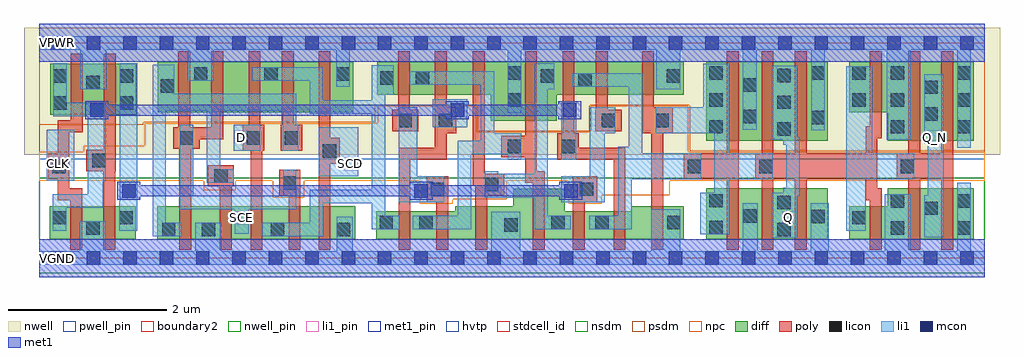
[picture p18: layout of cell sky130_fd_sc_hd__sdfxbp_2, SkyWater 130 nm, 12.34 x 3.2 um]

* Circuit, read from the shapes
.subckt sky130_fd_sc_hd__sdfxbp_2 CLK D Q Q_N SCD SCE VGND VNB VPB VPWR
XM1 VGND CLK n1 VNB sky130_fd_pr__nfet_01v8 w=0.42 l=0.15
XM2 n2 n1 VGND VNB sky130_fd_pr__nfet_01v8 w=0.42 l=0.15
XM3 VGND SCE n3 VNB sky130_fd_pr__nfet_01v8 w=0.42 l=0.15
XM4 n4 n3 VGND VNB sky130_fd_pr__nfet_01v8 w=0.42 l=0.15
XM5 n5 D n4 VNB sky130_fd_pr__nfet_01v8 w=0.42 l=0.15
XM6 n6 SCE n5 VNB sky130_fd_pr__nfet_01v8 w=0.42 l=0.15
XM7 VGND SCD n6 VNB sky130_fd_pr__nfet_01v8 w=0.42 l=0.15
XM8 n7 n1 n5 VNB sky130_fd_pr__nfet_01v8 w=0.36 l=0.15
XM9 n8 n2 n7 VNB sky130_fd_pr__nfet_01v8 w=0.36 l=0.15
XM10 VGND n9 n8 VNB sky130_fd_pr__nfet_01v8 w=0.42 l=0.15
XM11 n9 n7 VGND VNB sky130_fd_pr__nfet_01v8 w=0.64 l=0.15
XM12 n10 n2 n9 VNB sky130_fd_pr__nfet_01v8 w=0.36 l=0.15
XM13 n11 n1 n10 VNB sky130_fd_pr__nfet_01v8 w=0.36 l=0.15
XM14 VGND n12 n11 VNB sky130_fd_pr__nfet_01v8 w=0.42 l=0.15
XM15 VGND n10 n12 VNB sky130_fd_pr__nfet_01v8 w=0.65 l=0.15
XM16 Q n12 VGND VNB sky130_fd_pr__nfet_01v8 w=0.65 l=0.15 m=2
XM17 VGND n12 n13 VNB sky130_fd_pr__nfet_01v8 w=0.42 l=0.15
XM18 Q_N n13 VGND VNB sky130_fd_pr__nfet_01v8 w=0.65 l=0.15 m=2
XM19 VPWR CLK n1 VPB sky130_fd_pr__pfet_01v8_hvt w=0.64 l=0.15
XM20 n2 n1 VPWR VPB sky130_fd_pr__pfet_01v8_hvt w=0.64 l=0.15
XM21 VPWR SCE n3 VPB sky130_fd_pr__pfet_01v8_hvt w=0.64 l=0.15
XM22 n14 SCE VPWR VPB sky130_fd_pr__pfet_01v8_hvt w=0.64 l=0.15
XM23 n5 D n14 VPB sky130_fd_pr__pfet_01v8_hvt w=0.64 l=0.15
XM24 n15 n3 n5 VPB sky130_fd_pr__pfet_01v8_hvt w=0.64 l=0.15
XM25 VPWR SCD n15 VPB sky130_fd_pr__pfet_01v8_hvt w=0.64 l=0.15
XM26 n7 n2 n5 VPB sky130_fd_pr__pfet_01v8_hvt w=0.42 l=0.15
XM27 n16 n1 n7 VPB sky130_fd_pr__pfet_01v8_hvt w=0.42 l=0.15
XM28 VPWR n9 n16 VPB sky130_fd_pr__pfet_01v8_hvt w=0.42 l=0.15
XM29 n9 n7 VPWR VPB sky130_fd_pr__pfet_01v8_hvt w=0.75 l=0.15
XM30 n10 n1 n9 VPB sky130_fd_pr__pfet_01v8_hvt w=0.42 l=0.15
XM31 n17 n2 n10 VPB sky130_fd_pr__pfet_01v8_hvt w=0.42 l=0.15
XM32 VPWR n12 n17 VPB sky130_fd_pr__pfet_01v8_hvt w=0.42 l=0.15
XM33 VPWR n10 n12 VPB sky130_fd_pr__pfet_01v8_hvt w=1 l=0.15
XM34 Q n12 VPWR VPB sky130_fd_pr__pfet_01v8_hvt w=1 l=0.15 m=2
XM35 VPWR n12 n13 VPB sky130_fd_pr__pfet_01v8_hvt w=0.64 l=0.15
XM36 Q_N n13 VPWR VPB sky130_fd_pr__pfet_01v8_hvt w=1 l=0.15 m=2
.ends

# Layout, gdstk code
import gdstk
lib = gdstk.Library(unit=1e-6, precision=1e-09)
def R(c, l, rs):  # rectangles x0, y0, x1, y1
    for r in rs: c.add(gdstk.rectangle(r[:2], r[2:], *l))
def A(c, l, x, y, w, h, nx, ny, dx, dy):  # array of equal rectangles
    R(c, l, [(x+i*dx, y+j*dy, x+i*dx+w, y+j*dy+h) for i in range(nx) for j in range(ny)])
def P(c, l, *ps):  # polygons
    for p in ps: c.add(gdstk.Polygon(p, *l))
nwell_pin = (64, 16)
nwell = (64, 20)
diff = (65, 20)
poly = (66, 20)
licon = (66, 44)
li1_pin = (67, 16)
li1 = (67, 20)
mcon = (67, 44)
met1_pin = (68, 16)
met1 = (68, 20)
hvtp = (78, 44)
stdcell_id = (81, 4)
nsdm = (93, 44)
psdm = (94, 20)
npc = (95, 20)
pwell_pin = (122, 16)
boundary2 = (236, 0)

sky130_fd_sc_hd__sdfxbp_ = lib.new_cell('sky130_fd_sc_hd__sdfxbp_2')
R(sky130_fd_sc_hd__sdfxbp_, nwell_pin, [(0.145,2.635,0.315,2.805), (0.145,2.635,0.315,2.805)])
R(sky130_fd_sc_hd__sdfxbp_, nwell, [(-0.19,1.305,12.15,2.91)])
R(sky130_fd_sc_hd__sdfxbp_, diff, [(0.135,0.235,1.225,0.655), (1.495,0.235,3.995,0.655), (8.435,0.235,9.975,0.885), (8.435,1.485,9.975,2.485), (0.14,1.815,1.23,2.455), (1.5,1.845,3.97,2.485)])
P(sky130_fd_sc_hd__sdfxbp_, diff, [(11.82,0.885),(10.73,0.885),(10.73,0.655),(10.245,0.655),(10.245,0.235),(11.82,0.235)],
  [(8.15,2.485),(4.275,2.485),(4.275,2.065),(5.71,2.065),(5.71,1.735),(6.545,1.735),(6.545,2.065),(8.15,2.065)],
  [(8.15,0.655),(7.49,0.655),(7.49,0.595),(6.645,0.595),(6.645,0.875),(5.995,0.875),(5.995,0.655),(5.265,0.655),(5.265,0.595),(4.265,0.595),(4.265,0.235),(8.15,0.235)],
  [(11.82,2.485),(10.245,2.485),(10.245,1.845),(10.73,1.845),(10.73,1.485),(11.82,1.485)])
P(sky130_fd_sc_hd__sdfxbp_, poly, [(11.56,2.615),(11.41,2.615),(11.41,1.325),(11.14,1.325),(11.14,2.615),(10.99,2.615),(10.99,1.325),(10.845,1.325),(10.845,0.995),(10.99,0.995),(10.99,0.105),(11.14,0.105),(11.14,0.995),(11.41,0.995),(11.41,0.105),(11.56,0.105)],
  [(0.55,2.585),(0.4,2.585),(0.4,1.74),(0.235,1.74),(0.235,1.325),(0.115,1.325),(0.115,0.995),(0.235,0.995),(0.235,0.73),(0.395,0.73),(0.395,0.105),(0.545,0.105),(0.545,0.88),(0.385,0.88),(0.385,1.59),(0.55,1.59)],
  [(0.97,2.585),(0.82,2.585),(0.82,1.37),(0.595,1.37),(0.595,1.1),(0.815,1.1),(0.815,0.105),(0.965,0.105),(0.965,1.1),(0.97,1.1)],
  [(2.33,2.615),(2.18,2.615),(2.18,1.655),(1.91,1.655),(1.91,2.615),(1.76,2.615),(1.76,1.655),(1.7,1.655),(1.7,1.385),(1.775,1.385),(1.775,0.105),(1.925,0.105),(1.925,1.385),(2.03,1.385),(2.03,1.505),(2.33,1.505)],
  [(2.465,1.175),(2.135,1.175),(2.135,0.905),(2.285,0.905),(2.285,0.105),(2.435,0.105),(2.435,0.905),(2.465,0.905)],
  [(2.845,1.685),(2.8,1.685),(2.8,2.615),(2.65,2.615),(2.65,1.685),(2.575,1.685),(2.575,1.355),(2.675,1.355),(2.675,0.105),(2.825,0.105),(2.825,1.355),(2.845,1.355)],
  [(3.305,1.115),(3.035,1.115),(3.035,0.785),(3.155,0.785),(3.155,0.105),(3.305,0.105)],
  [(3.325,1.685),(3.22,1.685),(3.22,2.615),(3.07,2.615),(3.07,1.685),(3.055,1.685),(3.055,1.355),(3.325,1.355)],
  [(3.805,1.52),(3.685,1.52),(3.685,2.615),(3.535,2.615),(3.535,0.105),(3.685,0.105),(3.685,1.19),(3.805,1.19)],
  [(4.795,1.875),(4.69,1.875),(4.69,2.615),(4.54,2.615),(4.54,1.875),(4.465,1.875),(4.465,1.605),(4.795,1.605)],
  [(5.175,1.035),(4.905,1.035),(4.905,0.705),(5.025,0.705),(5.025,0.105),(5.175,0.105)],
  [(5.275,1.905),(5.155,1.905),(5.155,2.615),(5.005,2.615),(5.005,1.395),(4.545,1.395),(4.545,0.105),(4.695,0.105),(4.695,1.245),(5.155,1.245),(5.155,1.575),(5.275,1.575)],
  [(5.885,1.065),(5.635,1.065),(5.635,2.615),(5.485,2.615),(5.485,0.915),(5.515,0.915),(5.515,0.105),(5.665,0.105),(5.665,0.795),(5.885,0.795)],
  [(6.395,1.1),(6.295,1.1),(6.295,2.615),(6.145,2.615),(6.145,1.545),(5.845,1.545),(5.845,1.275),(6.145,1.275),(6.145,0.95),(6.245,0.95),(6.245,0.105),(6.395,0.105)],
  [(7.055,1.035),(6.75,1.035),(6.75,0.105),(6.9,0.105),(6.9,0.705),(7.055,0.705)],
  [(7.365,1.875),(7.19,1.875),(7.19,2.615),(7.04,2.615),(7.04,1.875),(7.035,1.875),(7.035,1.605),(7.365,1.605)],
  [(7.415,1.395),(6.825,1.395),(6.825,1.575),(6.77,1.575),(6.77,2.615),(6.62,2.615),(6.62,1.575),(6.555,1.575),(6.555,1.245),(7.265,1.245),(7.265,0.105),(7.415,0.105)],
  [(8.015,1.905),(7.775,1.905),(7.775,2.615),(7.625,2.615),(7.625,1.575),(7.74,1.575),(7.74,0.105),(7.89,0.105),(7.89,1.575),(8.015,1.575)],
  [(8.845,2.615),(8.695,2.615),(8.695,1.325),(8.15,1.325),(8.15,0.995),(8.695,0.995),(8.695,0.105),(8.845,0.105)],
  [(10.655,0.88),(10.6,0.88),(10.6,1.515),(10.655,1.515),(10.655,2.615),(10.505,2.615),(10.505,1.665),(10.45,1.665),(10.45,1.325),(9.705,1.325),(9.705,2.615),(9.555,2.615),(9.555,1.325),(9.285,1.325),(9.285,2.615),(9.135,2.615),(9.135,1.325),(9.055,1.325),(9.055,0.995),(9.135,0.995),(9.135,0.105),(9.285,0.105),(9.285,0.995),(9.555,0.995),(9.555,0.105),(9.705,0.105),(9.705,0.995),(10.45,0.995),(10.45,0.73),(10.505,0.73),(10.505,0.105),(10.655,0.105)])
A(sky130_fd_sc_hd__sdfxbp_, licon, 9.335, 1.545, 0.17, 0.17, 1, 3, 0, 0.34)
A(sky130_fd_sc_hd__sdfxbp_, licon, 8.475, 1.575, 0.17, 0.17, 1, 3, 0, 0.34)
A(sky130_fd_sc_hd__sdfxbp_, licon, 10.77, 1.575, 0.17, 0.17, 1, 3, 0, 0.34)
A(sky130_fd_sc_hd__sdfxbp_, licon, 11.61, 1.575, 0.17, 0.17, 1, 3, 0, 0.34)
R(sky130_fd_sc_hd__sdfxbp_, licon, [(1.555,0.275,1.725,0.445), (2.055,0.275,2.225,0.445), (2.93,0.275,3.1,0.445), (3.765,0.275,3.935,0.445), (9.335,0.275,9.505,0.445), (0.595,0.295,0.765,0.465), (10.77,0.295,10.94,0.465), (11.61,0.295,11.78,0.465), (8.475,0.3,8.645,0.47), (5.885,0.335,6.055,0.505), (4.305,0.365,4.475,0.535), (4.805,0.365,4.975,0.535), (6.475,0.365,6.645,0.535), (7.035,0.365,7.205,0.535), (7.94,0.365,8.11,0.535), (0.175,0.425,0.345,0.595), (1.015,0.425,1.185,0.595), (10.285,0.425,10.455,0.595), (9.765,0.44,9.935,0.61), (8.905,0.445,9.075,0.615), (11.19,0.545,11.36,0.715), (9.335,0.615,9.505,0.785), (10.77,0.635,10.94,0.805), (11.61,0.635,11.78,0.805), (8.475,0.64,8.645,0.81), (4.955,0.785,5.125,0.955), (6.835,0.785,7.005,0.955), (5.635,0.845,5.805,1.015), (3.085,0.865,3.255,1.035), (2.215,0.955,2.385,1.125), (0.165,1.075,0.335,1.245), (8.2,1.075,8.37,1.245), (9.105,1.075,9.275,1.245), (10.895,1.075,11.065,1.245), (0.675,1.15,0.845,1.32), (3.585,1.27,3.755,1.44), (5.925,1.325,6.095,1.495), (6.605,1.325,6.775,1.495), (1.78,1.435,1.95,1.605), (2.625,1.435,2.795,1.605), (3.105,1.435,3.275,1.605), (4.545,1.655,4.715,1.825), (5.055,1.655,5.225,1.825), (7.115,1.655,7.285,1.825), (7.795,1.655,7.965,1.825), (9.765,1.695,9.935,1.865), (8.905,1.705,9.075,1.875), (11.19,1.735,11.36,1.905), (0.18,1.875,0.35,2.045), (1.02,1.875,1.19,2.045), (5.925,1.915,6.095,2.085), (10.285,1.915,10.455,2.085), (11.19,2.075,11.36,2.245), (1.54,2.09,1.71,2.26), (8.905,2.105,9.075,2.275), (0.6,2.135,0.77,2.305), (6.82,2.165,6.99,2.335), (4.315,2.19,4.485,2.36), (4.765,2.19,4.935,2.36), (0.18,2.215,0.35,2.385), (1.02,2.215,1.19,2.385), (6.345,2.215,6.515,2.385), (7.935,2.215,8.105,2.385), (1.96,2.245,2.13,2.415), (2.85,2.245,3.02,2.415), (3.76,2.245,3.93,2.415), (5.925,2.255,6.095,2.425), (9.765,2.255,9.935,2.425), (10.285,2.255,10.455,2.425)])
R(sky130_fd_sc_hd__sdfxbp_, li1_pin, [(2.475,0.425,2.645,0.595), (9.395,0.425,9.565,0.595), (0.155,1.105,0.325,1.275), (3.855,1.105,4.025,1.275), (2.475,1.445,2.645,1.615), (11.235,1.445,11.405,1.615)])
R(sky130_fd_sc_hd__sdfxbp_, li1, [(0.095,0.975,0.445,1.625), (3.535,1.035,4.035,1.655), (6.605,1.245,6.795,1.965), (2.46,1.355,2.795,1.685), (4.975,1.655,5.415,2.01)])
P(sky130_fd_sc_hd__sdfxbp_, li1, [(4.555,0.535),(4.375,0.535),(4.375,2.065),(4.485,2.065),(4.485,2.44),(4.205,2.44),(4.205,1.995),(3.59,1.995),(3.59,2.415),(2.695,2.415),(2.695,2.245),(3.42,2.245),(3.42,1.825),(4.205,1.825),(4.205,0.865),(3.425,0.865),(3.425,0.445),(2.82,0.445),(2.82,0.275),(3.595,0.275),(3.595,0.695),(4.205,0.695),(4.205,0.365),(4.555,0.365)],
  [(0.845,1.965),(0.35,1.965),(0.35,2.465),(0.18,2.465),(0.18,1.795),(0.615,1.795),(0.615,0.805),(0.175,0.805),(0.175,0.345),(0.345,0.345),(0.345,0.635),(0.81,0.635),(0.81,0.97),(0.845,0.97)],
  [(3.255,1.115),(3.085,1.115),(3.085,0.785),(1.95,0.785),(1.95,1.685),(1.78,1.685),(1.78,0.615),(2.475,0.615),(2.475,0.305),(2.65,0.305),(2.65,0.615),(3.255,0.615)],
  [(5.125,1.035),(4.785,1.035),(4.785,1.905),(4.545,1.905),(4.545,0.705),(5.125,0.705)],
  [(1.245,2.465),(1.02,2.465),(1.02,0.715),(1.015,0.715),(1.015,0.345),(1.245,0.345)],
  [(3.275,1.685),(3.25,1.685),(3.25,2.075),(1.71,2.075),(1.71,2.445),(1.435,2.445),(1.435,0.275),(1.805,0.275),(1.805,0.445),(1.605,0.445),(1.605,1.86),(2.12,1.86),(2.12,0.955),(2.465,0.955),(2.465,1.125),(2.29,1.125),(2.29,1.86),(3.08,1.86),(3.08,1.355),(3.275,1.355)],
  [(9.615,1.53),(9.585,1.53),(9.585,2.43),(9.255,2.43),(9.255,1.495),(9.41,1.495),(9.41,1.43),(9.445,1.43),(9.445,0.89),(9.41,0.89),(9.41,0.825),(9.255,0.825),(9.255,0.255),(9.585,0.255),(9.585,0.79),(9.615,0.79)],
  [(9.275,1.325),(8.725,1.325),(8.725,2.455),(8.395,2.455),(8.395,1.905),(7.795,1.905),(7.795,1.575),(8.54,1.575),(8.54,0.825),(8.36,0.825),(8.36,0.3),(8.725,0.3),(8.725,0.995),(9.275,0.995)],
  [(8.37,1.325),(7.625,1.325),(7.625,2.335),(6.74,2.335),(6.74,2.165),(7.455,2.165),(7.455,1.405),(7.325,1.405),(7.325,0.535),(6.955,0.535),(6.955,0.365),(7.495,0.365),(7.495,0.995),(8.37,0.995)],
  [(7.285,1.905),(6.965,1.905),(6.965,1.035),(6.605,1.035),(6.605,0.705),(7.155,0.705),(7.155,1.575),(7.285,1.575)],
  [(6.725,0.535),(6.435,0.535),(6.435,2.135),(6.515,2.135),(6.515,2.465),(6.265,2.465),(6.265,1.065),(5.805,1.065),(5.805,1.095),(5.635,1.095),(5.635,0.765),(6.265,0.765),(6.265,0.365),(6.725,0.365)],
  [(6.095,1.575),(5.755,1.575),(5.755,2.36),(4.685,2.36),(4.685,2.19),(5.585,2.19),(5.585,1.485),(5.295,1.485),(5.295,0.535),(4.725,0.535),(4.725,0.365),(5.465,0.365),(5.465,1.315),(5.925,1.315),(5.925,1.245),(6.095,1.245)],
  [(11.065,1.325),(10.535,1.325),(10.535,2.425),(10.205,2.425),(10.205,0.345),(10.455,0.345),(10.455,0.995),(11.065,0.995)],
  [(11.44,2.325),(11.19,2.325),(11.19,1.445),(11.235,1.445),(11.235,0.795),(11.19,0.795),(11.19,0.265),(11.44,0.265)],
  [(11.96,2.805),(0,2.805),(0,2.635),(0.52,2.635),(0.52,2.135),(0.85,2.135),(0.85,2.635),(1.88,2.635),(1.88,2.245),(2.21,2.245),(2.21,2.635),(3.76,2.635),(3.76,2.165),(3.93,2.165),(3.93,2.635),(5.925,2.635),(5.925,1.835),(6.095,1.835),(6.095,2.635),(7.805,2.635),(7.805,2.135),(8.11,2.135),(8.11,2.635),(8.895,2.635),(8.895,1.625),(9.075,1.625),(9.075,2.635),(9.765,2.635),(9.765,1.615),(9.935,1.615),(9.935,2.635),(10.715,2.635),(10.715,1.495),(11.02,1.495),(11.02,2.635),(11.61,2.635),(11.61,1.395),(11.78,1.395),(11.78,2.635),(11.96,2.635)],
  [(11.96,0.085),(11.78,0.085),(11.78,0.955),(11.61,0.955),(11.61,0.085),(11.02,0.085),(11.02,0.805),(10.69,0.805),(10.69,0.085),(9.985,0.085),(9.985,0.69),(9.755,0.69),(9.755,0.085),(9.085,0.085),(9.085,0.695),(8.895,0.695),(8.895,0.085),(8.11,0.085),(8.11,0.615),(7.74,0.615),(7.74,0.085),(6.085,0.085),(6.085,0.585),(5.715,0.585),(5.715,0.085),(3.965,0.085),(3.965,0.525),(3.765,0.525),(3.765,0.085),(2.305,0.085),(2.305,0.445),(1.975,0.445),(1.975,0.085),(0.845,0.085),(0.845,0.465),(0.515,0.465),(0.515,0.085),(0,0.085),(0,-0.085),(11.96,-0.085)])
A(sky130_fd_sc_hd__sdfxbp_, mcon, 0.145, -0.085, 0.17, 0.17, 26, 2, 0.46, 2.72)
R(sky130_fd_sc_hd__sdfxbp_, mcon, [(1.05,0.765,1.22,0.935), (4.745,0.765,4.915,0.935), (6.64,0.765,6.81,0.935), (0.645,1.785,0.815,1.955), (5.205,1.785,5.375,1.955), (6.625,1.785,6.795,1.955)])
R(sky130_fd_sc_hd__sdfxbp_, met1_pin, [(0.145,-0.085,0.315,0.085), (0.145,2.635,0.315,2.805)])
P(sky130_fd_sc_hd__sdfxbp_, met1, [(6.87,0.965),(6.58,0.965),(6.58,0.92),(4.975,0.92),(4.975,0.965),(4.685,0.965),(4.685,0.92),(1.28,0.92),(1.28,0.965),(0.99,0.965),(0.99,0.735),(1.28,0.735),(1.28,0.78),(4.685,0.78),(4.685,0.735),(4.975,0.735),(4.975,0.78),(6.58,0.78),(6.58,0.735),(6.87,0.735)],
  [(6.855,1.985),(6.565,1.985),(6.565,1.94),(5.435,1.94),(5.435,1.985),(5.145,1.985),(5.145,1.94),(0.875,1.94),(0.875,1.985),(0.585,1.985),(0.585,1.755),(0.875,1.755),(0.875,1.8),(5.145,1.8),(5.145,1.755),(5.435,1.755),(5.435,1.8),(6.565,1.8),(6.565,1.755),(6.855,1.755)])
R(sky130_fd_sc_hd__sdfxbp_, hvtp, [(0,1.25,11.96,2.72)])
R(sky130_fd_sc_hd__sdfxbp_, stdcell_id, [(0,0,11.96,2.72)])
R(sky130_fd_sc_hd__sdfxbp_, nsdm, [(0,-0.19,11.96,1.015)])
P(sky130_fd_sc_hd__sdfxbp_, psdm, [(11.96,2.91),(0,2.91),(0,1.685),(1.32,1.685),(1.32,1.715),(4.25,1.715),(4.25,1.935),(5.54,1.935),(5.54,1.605),(6.965,1.605),(6.965,1.935),(8.23,1.935),(8.23,1.355),(11.96,1.355)])
P(sky130_fd_sc_hd__sdfxbp_, npc, [(11.96,1.345),(8.21,1.345),(8.21,1.925),(6.975,1.925),(6.975,1.595),(5.525,1.595),(5.525,1.925),(4.28,1.925),(4.28,1.705),(1.335,1.705),(1.335,1.42),(0.565,1.42),(0.565,1.345),(0,1.345),(0,0.975),(2.085,0.975),(2.085,0.855),(2.485,0.855),(2.485,0.975),(2.955,0.975),(2.955,0.765),(3.355,0.765),(3.355,0.975),(4.815,0.975),(4.815,0.685),(5.23,0.685),(5.23,0.745),(5.915,0.745),(5.915,0.975),(6.695,0.975),(6.695,0.685),(7.115,0.685),(7.115,0.795),(7.975,0.795),(7.975,0.975),(11.96,0.975)])
R(sky130_fd_sc_hd__sdfxbp_, pwell_pin, [(0.145,-0.085,0.315,0.085), (0.145,-0.085,0.315,0.085)])
R(sky130_fd_sc_hd__sdfxbp_, boundary2, [(0,0,11.96,2.72)])
sky130_fd_sc_hd__sdfxbp_.add(gdstk.FlexPath([(0,2.72),(11.96,2.72)], 0.48, ends="flush", simple_path=True, layer=68, datatype=20))  # met1
sky130_fd_sc_hd__sdfxbp_.add(gdstk.FlexPath([(0,0),(11.96,0)], 0.48, ends="flush", simple_path=True, layer=68, datatype=20))  # met1
sky130_fd_sc_hd__sdfxbp_.add(gdstk.Label('VGND', (0.23,0), layer=68, texttype=5))
sky130_fd_sc_hd__sdfxbp_.add(gdstk.Label('VPWR', (0.23,2.72), layer=68, texttype=5))
sky130_fd_sc_hd__sdfxbp_.add(gdstk.Label('SCD', (3.94,1.19), layer=67, texttype=5))
sky130_fd_sc_hd__sdfxbp_.add(gdstk.Label('D', (2.56,1.53), layer=67, texttype=5))
sky130_fd_sc_hd__sdfxbp_.add(gdstk.Label('Q_N', (11.32,1.53), layer=67, texttype=5))
sky130_fd_sc_hd__sdfxbp_.add(gdstk.Label('SCE', (2.56,0.51), layer=67, texttype=5))
sky130_fd_sc_hd__sdfxbp_.add(gdstk.Label('CLK', (0.24,1.19), layer=67, texttype=5))
sky130_fd_sc_hd__sdfxbp_.add(gdstk.Label('Q', (9.48,0.51), layer=67, texttype=5))
sky130_fd_sc_hd__sdfxbp_.add(gdstk.Label('VNB', (0.23,0), layer=64, texttype=59))
sky130_fd_sc_hd__sdfxbp_.add(gdstk.Label('VNB', (0.23,0), layer=64, texttype=59))
sky130_fd_sc_hd__sdfxbp_.add(gdstk.Label('VPB', (0.23,2.72), layer=64, texttype=5))
sky130_fd_sc_hd__sdfxbp_.add(gdstk.Label('VPB', (0.23,2.72), layer=64, texttype=5))
sky130_fd_sc_hd__sdfxbp_.add(gdstk.Label('sdfxbp_2', (0,0), layer=83, texttype=44))

lib.write_gds('sky130_fd_sc_hd__sdfxbp_2.gds')
